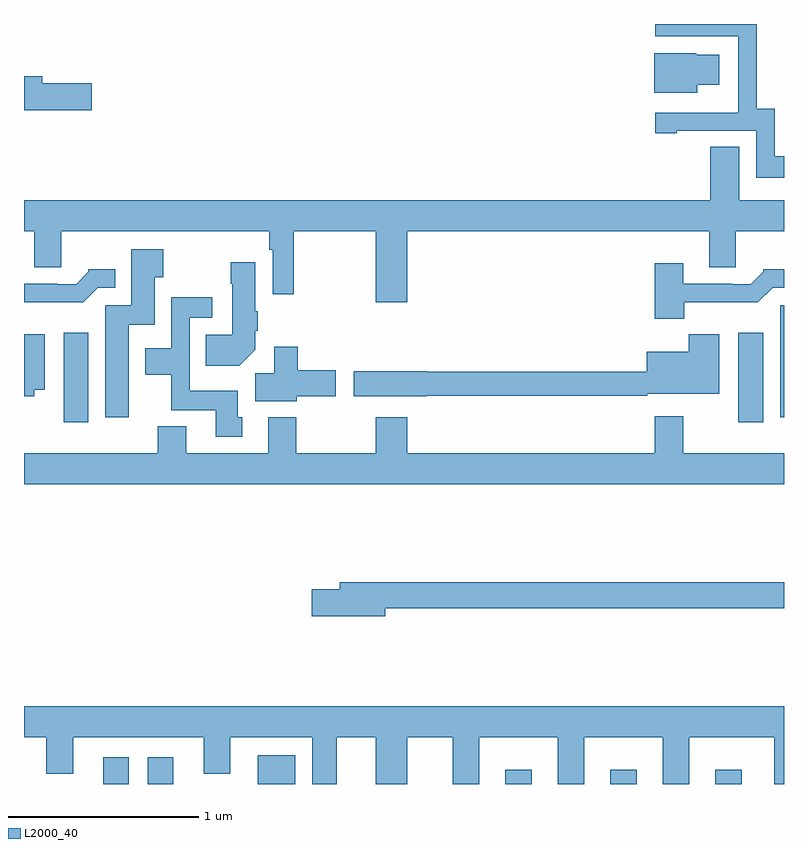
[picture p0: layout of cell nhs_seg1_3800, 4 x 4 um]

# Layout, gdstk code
import gdstk
lib = gdstk.Library(unit=1e-6, precision=1e-09)
def R(c, l, rs):  # rectangles x0, y0, x1, y1
    for r in rs: c.add(gdstk.rectangle(r[:2], r[2:], *l))
def A(c, l, x, y, w, h, nx, ny, dx, dy):  # array of equal rectangles
    R(c, l, [(x+i*dx, y+j*dy, x+i*dx+w, y+j*dy+h) for i in range(nx) for j in range(ny)])
def P(c, l, *ps):  # polygons
    for p in ps: c.add(gdstk.Polygon(p, *l))
L2000_40 = (2000, 40)

nhs_seg1_3800 = lib.new_cell('nhs_seg1_3800')
A(nhs_seg1_3800, L2000_40, 321.533, 506.199, 0.14, 0.076, 3, 1, 0.552, 0)
R(nhs_seg1_3800, L2000_40, [(319.418,506.199,319.552,506.341), (319.652,506.199,319.786,506.341), (320.231,506.199,320.427,506.35), (319.208,508.104,319.339,508.573), (322.76,508.104,322.891,508.573), (322.979,508.128,323,508.719)])
P(nhs_seg1_3800, L2000_40, [(323,509.502),(322.951,509.502),(322.951,509.753),(322.857,509.753),(322.857,510.199),(322.323,510.199),(322.323,510.135),(322.758,510.135),(322.758,509.734),(322.757,509.734),(322.757,509.733),(322.323,509.733),(322.323,509.625),(322.435,509.625),(322.435,509.637),(322.854,509.637),(322.854,509.391),(323,509.391)],
  [(322.543,509.879),(322.66,509.879),(322.66,510.037),(322.539,510.037),(322.539,510.046),(322.316,510.046),(322.316,509.837),(322.543,509.837)],
  [(319.357,509.888),(319.096,509.888),(319.096,509.924),(319,509.924),(319,509.746),(319.357,509.746)],
  [(321.016,509.108),(322.607,509.108),(322.607,508.918),(322.747,508.918),(322.747,509.108),(323,509.108),(323,509.272),(322.765,509.272),(322.765,509.552),(322.613,509.552),(322.613,509.272),(319,509.272),(319,509.108),(319.055,509.108),(319.055,508.918),(319.195,508.918),(319.195,509.108),(320.29,509.108),(320.29,509.012),(320.31,509.012),(320.31,508.776),(320.419,508.776),(320.419,509.108),(320.852,509.108),(320.852,508.734),(321.016,508.734)],
  [(319.552,508.616),(319.687,508.616),(319.687,508.867),(319.734,508.867),(319.734,509.014),(319.565,509.014),(319.565,508.719),(319.427,508.719),(319.427,508.128),(319.552,508.128)],
  [(320.218,508.484),(320.218,508.585),(320.231,508.585),(320.231,508.688),(320.218,508.688),(320.218,508.945),(320.089,508.945),(320.089,508.832),(320.096,508.832),(320.096,508.564),(319.957,508.564),(319.957,508.4),(320.134,508.4)],
  [(322.474,508.734),(322.863,508.734),(322.941,508.812),(323,508.812),(323,508.909),(322.89,508.909),(322.89,508.894),(322.826,508.83),(322.727,508.83),(322.727,508.833),(322.471,508.833),(322.471,508.939),(322.319,508.939),(322.319,508.649),(322.474,508.649)],
  [(319.389,508.812),(319.48,508.812),(319.48,508.909),(319.338,508.909),(319.338,508.894),(319.274,508.83),(319.175,508.83),(319.175,508.833),(319,508.833),(319,508.734),(319.311,508.734)],
  [(320.149,508.128),(320.125,508.128),(320.125,508.27),(319.872,508.27),(319.872,508.653),(319.99,508.653),(319.99,508.762),(319.776,508.762),(319.776,508.492),(319.637,508.492),(319.637,508.352),(319.774,508.352),(319.774,508.166),(320.009,508.166),(320.009,508.026),(320.149,508.026)],
  [(319.053,508.274),(319.108,508.274),(319.108,508.567),(319,508.567),(319,508.241),(319.053,508.241)],
  [(321.12,508.242),(322.281,508.242),(322.281,508.253),(322.66,508.253),(322.66,508.567),(322.498,508.567),(322.498,508.474),(322.277,508.474),(322.277,508.37),(321.12,508.37),(321.12,508.371),(320.736,508.371),(320.736,508.241),(321.12,508.241)],
  [(320.436,508.241),(320.641,508.241),(320.641,508.376),(320.44,508.376),(320.44,508.501),(320.318,508.501),(320.318,508.361),(320.216,508.361),(320.216,508.214),(320.436,508.214)],
  [(319.703,508.081),(319.703,507.94),(319,507.94),(319,507.776),(323,507.776),(323,507.94),(322.471,507.94),(322.471,508.135),(322.319,508.135),(322.319,507.94),(321.016,507.94),(321.016,508.129),(320.852,508.129),(320.852,507.94),(320.433,507.94),(320.433,508.129),(320.285,508.129),(320.285,507.94),(319.855,507.94),(319.855,508.081)],
  [(320.902,507.124),(323,507.124),(323,507.26),(320.663,507.26),(320.663,507.224),(320.514,507.224),(320.514,507.082),(320.902,507.082)],
  [(319,506.444),(319.118,506.444),(319.118,506.254),(319.258,506.254),(319.258,506.444),(319.946,506.444),(319.946,506.254),(320.086,506.254),(320.086,506.444),(320.516,506.444),(320.516,506.199),(320.647,506.199),(320.647,506.444),(320.852,506.444),(320.852,506.199),(321.016,506.199),(321.016,506.444),(321.257,506.444),(321.257,506.199),(321.397,506.199),(321.397,506.444),(321.809,506.444),(321.809,506.199),(321.949,506.199),(321.949,506.444),(322.361,506.444),(322.361,506.199),(322.501,506.199),(322.501,506.444),(322.949,506.444),(322.949,506.199),(323,506.199),(323,506.608),(319,506.608)])

lib.write_gds('nhs_seg1_3800.gds')
